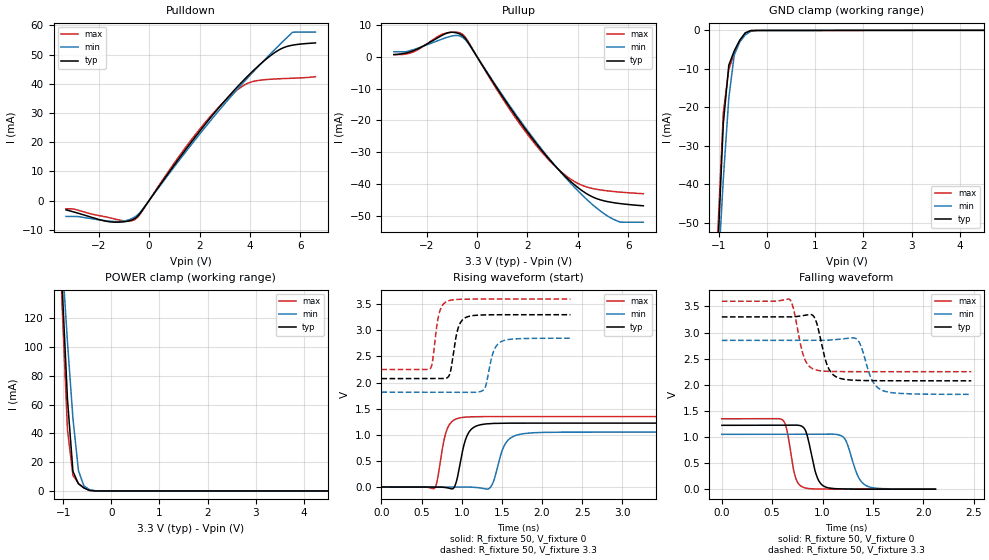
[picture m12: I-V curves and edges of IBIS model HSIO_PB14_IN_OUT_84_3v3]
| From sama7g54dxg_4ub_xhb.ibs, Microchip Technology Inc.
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|   Model   HSIO_PB14_IN_OUT_100
[Model] HSIO_PB14_IN_OUT_84_3v3
Model_type I/O
Enable   Active-High
Vinl  =  0.99
Vinh  =  2.31
Vmeas =  1.650
| Capacitance   typ   min   max
C_comp   1.068541701113554e-12   1.016571393773621e-12   1.139369895251705e-12
| Variables   typ   min   max
[GND Clamp Reference]   0   0   0
[POWER Clamp Reference]   3.3   2.85   3.6
[Pulldown Reference]   0   0   0
[Pullup Reference]   3.3   2.85   3.6
[Temperature Range]   25   125   -40
[Voltage Range]   3.3   2.85   3.6
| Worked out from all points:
|   slope of the pulldown table from 0 to 0.495 V, typ, clamps not added: 81.2 ohm
|   slope of the pullup table from 0 to 0.495 V, typ, clamps not added: 79.4 ohm
|   GND clamp passes 1 mA (typ) near -0.47 V on its own axis
|   POWER clamp passes 1 mA (typ) near -0.50 V on its own axis
|   falling waveform, R_fixture 50, V_fixture 0: 20-80 % time 88.7ps typ, 112ps min, 72.7ps max; typ from 1.22 V to 0.001 V
|   falling waveform, R_fixture 50, V_fixture 3.3: 20-80 % time 99ps typ, 112ps min, 91.1ps max; typ from 3.3 V to 2.08 V
|   rising waveform, R_fixture 50, V_fixture 0: 20-80 % time 111ps typ, 131ps min, 99.1ps max; typ from 0 V to 1.22 V
|   rising waveform, R_fixture 50, V_fixture 3.3: 20-80 % time 84.7ps typ, 96.5ps min, 73.4ps max; typ from 2.08 V to 3.3 V
[GND Clamp]
| Voltage   I(typ)   I(min)   I(max)
-3.3V     -929.1mA   -542.5mA   -1.152A
-1.024V   -57.05mA   -64.05mA   -52.48mA
-910.3mV  -24.26mA   -38.73mA   -21.41mA
-796.6mV  -9.1mA     -17.67mA   -10.13mA
-682.8mV  -5.32mA    -6.383mA   -6.018mA
-569mV    -2.568mA   -3.041mA   -2.759mA
-455.2mV  -677.7uA   -1.206mA   -728.3uA
-341.4mV  -70.25uA   -271.9uA   -72.06uA
-113.8mV  -34.12uA   -25.48uA   -45.7uA
6.6V      0A         0A         0A
[POWER Clamp]
| Voltage   I(typ)   I(min)   I(max)
-3.3V     2.134A     1.237A     2.671A
-1.138V   234.7mA    225.9mA    258.9mA
-1.024V   144.5mA    163.2mA    130.8mA
-910.3mV  63.72mA    103.5mA    42.5mA
-796.6mV  13.63mA    50.37mA    10.74mA
-682.8mV  4.957mA    14.13mA    5.284mA
-569mV    2.071mA    3.44mA     2.128mA
-455.2mV  359.6uA    975.1uA    378.6uA
-227.6mV  2.45uA     12.53uA    2.818uA
6.6V      0A         0A         0A
[Pullup]
| Voltage   I(typ)   I(min)   I(max)
-3.3V     682.8uA    1.569mA    678.6uA
-2.503V   1.976mA    2.304mA    1.608mA
-1.138V   7.592mA    6.24mA     7.564mA
-569mV    6.615mA    6.074mA    7.026mA
-341.4mV  4.372mA    4.144mA    4.638mA
1.707V    -20.48mA   -20mA      -21.23mA
2.503V    -28.8mA    -28.43mA   -29.37mA
3.3V      -36.01mA   -36.11mA   -35.91mA
4.324V    -42.93mA   -44.64mA   -40.87mA
5.234V    -45.63mA   -50.33mA   -42.22mA
5.69V     -46.17mA   -51.99mA   -42.57mA
6.6V      -46.86mA   -52.01mA   -43.06mA
[Pulldown]
| Voltage   I(typ)   I(min)   I(max)
-3.3V     -3.196mA   -5.444mA   -2.846mA
-1.593V   -7.249mA   -7.024mA   -5.832mA
-1.024V   -7.291mA   -7.055mA   -6.916mA
-569mV    -6.154mA   -5.625mA   -6.522mA
-227.6mV  -2.789mA   -2.626mA   -2.972mA
1.934V    22.93mA    21.98mA    23.68mA
2.731V    31.43mA    30.41mA    31.68mA
3.528V    39.18mA    38.36mA    38.08mA
4.097V    44.18mA    43.75mA    40.72mA
4.893V    50.11mA    50.9mA     41.57mA
5.69V     53.2mA     57.62mA    41.88mA
6.6V      53.96mA    57.68mA    42.41mA
[Ramp]
dV/dt_r   0.734279/0.11091n  0.630633/0.131278n  0.809199/99.1102p
dV/dt_f   0.734398/99.1015p  0.620515/0.112n  0.809871/91.1805p
R_load = 50
[Falling Waveform]
R_fixture = 50
V_fixture = 0
V_fixture_min = 0
V_fixture_max = 0
| Time   V(typ)   V(min)   V(max)
0s        1.224V     1.051V     1.349V
606ps     1.224V     1.052V     1.321V
726.7ps   1.227V     1.052V     254mV
817.5ps   1.168V     1.052V     29.25mV
941.2ps   256.3mV    1.052V     4.572mV
1.035ns   37.76mV    1.053V     1.975mV
1.221ns   4.374mV    967.2mV    984uV
1.35ns    1.859mV    257.8mV    983.7uV
1.444ns   1.391mV    58.12mV    983.4uV
2.122ns   791.8uV    955.2uV    981.6uV
[Falling Waveform]
R_fixture = 50
V_fixture = 3.3
V_fixture_min = 2.85
V_fixture_max = 3.6
| Time   V(typ)   V(min)   V(max)
0s        3.3V       2.85V      3.6V
673.5ps   3.299V     2.851V     3.635V
819.2ps   3.331V     2.851V     2.511V
936.8ps   3.215V     2.851V     2.283V
1.051ns   2.351V     2.853V     2.257V
1.163ns   2.129V     2.873V     2.253V
1.352ns   2.084V     2.851V     2.251V
1.494ns   2.079V     2.078V     2.251V
1.592ns   2.078V     1.894V     2.251V
2.477ns   2.076V     1.816V     2.251V
[Rising Waveform]
R_fixture = 50
V_fixture = 0
V_fixture_min = 0
V_fixture_max = 0
| Time   V(typ)   V(min)   V(max)
0s        43.38nV    375.3nV    166nV
657.1ps   -693.4uV   -407.5uV   -28.75mV
820.7ps   -15.74mV   -509uV     1.117V
916.7ps   26.14mV    -568.6uV   1.294V
1.022ns   767.7mV    -633.9uV   1.335V
1.131ns   1.121V     -4.284mV   1.344V
1.344ns   1.213V     -27.24mV   1.348V
1.556ns   1.222V     859mV      1.348V
1.797ns   1.223V     1.026V     1.348V
6.114ns   1.224V     1.051V     1.349V
[Rising Waveform]
R_fixture = 50
V_fixture = 3.3
V_fixture_min = 2.85
V_fixture_max = 3.6
| Time   V(typ)   V(min)   V(max)
0s        2.076V     1.816V     2.25V
610.3ps   2.076V     1.815V     2.272V
722.2ps   2.076V     1.815V     3.343V
832.5ps   2.109V     1.815V     3.566V
952.5ps   3.028V     1.815V     3.593V
1.056ns   3.252V     1.815V     3.597V
1.286ns   3.296V     1.884V     3.599V
1.385ns   3.298V     2.547V     3.599V
1.487ns   3.299V     2.782V     3.599V
2.355ns   3.3V       2.85V      3.599V
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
